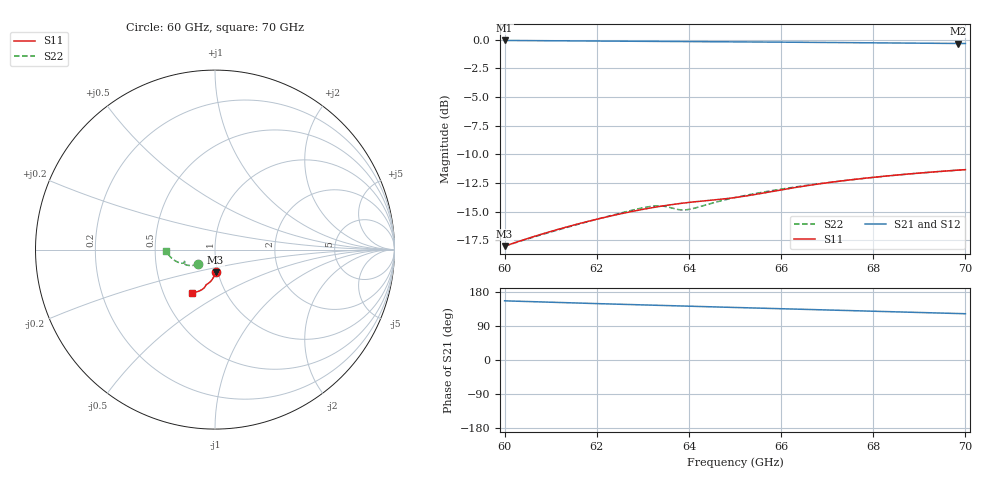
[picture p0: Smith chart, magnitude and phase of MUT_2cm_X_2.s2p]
! TOUCHSTONE file generated by CST MICROWAVE STUDIO
! Date and time: Tue Feb 27 21:04:21 2024
! Project name: material_angular.cst
! Parameters = {exis2=2; exis=5; X=5; Z=5; Y=2}
! Header version: 2018
! Port assignment regex: !\s*Touchstone port\s*([0-9]+)\s*=\s*(CST MWS port|CST DS port)\s*([0-9]+|Zmin|Zmax)\s*\(\"(.*)\"\)(\s*mode\s*([0-9]+))?.*
! Touchstone port assignment:
! Touchstone port 1 = CST MWS port 1 ("")
! Touchstone port 2 = CST MWS port 2 ("")
# GHz S MA R 376.7
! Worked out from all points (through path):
!   1001 points, 60 GHz to 70 GHz, reference 376.7 ohm
!   highest |S21| = -0.07 dB at 60 GHz (marker M1); lowest = -0.3 dB at 69.84 GHz (marker M2)
!   group delay of S21, straight-line fit = 9.3 ps
!   lowest |S11| = -18.0 dB at 60 GHz (marker M3), VSWR 1.29, Z = 367 - j93.9 ohm
!   |S11| at or under -10 dB: start of sweep to end of sweep
!   |S22| runs from -18.0 to -11.3 dB; largest |S21 - S12| = 0.00036
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60  0.1259 -88.6  0.992 156.1  0.992 156.1  0.1259 -139.1
60.87  0.1433 -91.1  0.9893 152.9  0.9893 152.9  0.1425 -142.5
61.67  0.1588 -93.7  0.9871 150.0  0.9871 150.0  0.1583 -145.9
62.28  0.17 -95.9  0.9856 147.8  0.9856 147.8  0.1706 -148.8
62.88  0.1802 -98.1  0.9842 145.7  0.9841 145.7  0.1828 -152.5
63.15  0.1844 -99.2  0.9836 144.8  0.9835 144.8  0.1873 -154.8
63.34  0.1872 -99.9  0.9831 144.2  0.983 144.2  0.1886 -156.7
63.48  0.1891 -100.5  0.9828 143.7  0.9827 143.7  0.1876 -158.0
63.66  0.1914 -101.1  0.9823 143.1  0.9822 143.1  0.1838 -158.9
63.81  0.1932 -101.7  0.982 142.6  0.9819 142.6  0.1813 -158.5
63.95  0.1947 -102.2  0.9816 142.1  0.9815 142.1  0.1814 -157.7
64.11  0.1963 -102.7  0.9812 141.6  0.9811 141.6  0.1841 -157.0
64.41  0.199 -103.5  0.9804 140.6  0.9803 140.6  0.1915 -156.8
64.7  0.2017 -104.0  0.9796 139.6  0.9795 139.6  0.1985 -157.4
65  0.205 -104.3  0.9788 138.6  0.9787 138.6  0.205 -158.5
65.75  0.2169 -105.3  0.9764 136.2  0.9764 136.2  0.219 -161.4
66.67  0.2328 -107.7  0.973 133.3  0.973 133.2  0.2334 -165.2
67.46  0.2443 -110.2  0.9697 130.7  0.9697 130.7  0.2443 -168.3
68.34  0.2551 -113.0  0.966 127.8  0.9659 127.8  0.255 -171.8
69.07  0.2628 -115.2  0.9634 125.4  0.9633 125.4  0.2627 -174.6
69.84  0.27 -117.4  0.9622 122.7  0.9623 122.7  0.2699 -177.4
70  0.2713 -117.8  0.9622 122.1  0.9625 122.1  0.2713 -178.0
